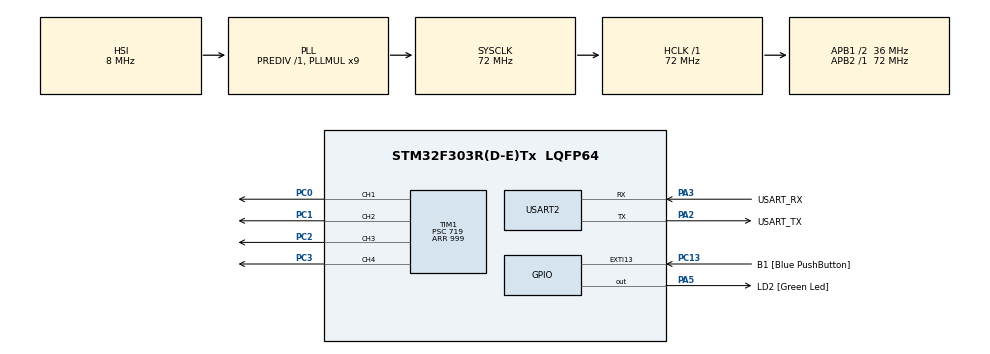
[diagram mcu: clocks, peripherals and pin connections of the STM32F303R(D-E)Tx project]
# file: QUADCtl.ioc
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Mcu.Family=STM32F3
Mcu.Name=STM32F303R(D-E)Tx
Mcu.Package=LQFP64
NVIC.PriorityGroup=NVIC_PRIORITYGROUP_0
NVIC.TIM2_IRQn=true\:0\:0\:true\:false\:true\:true\:true
PA13.GPIO_Label=TMS
PA13.Mode=Serial_Wire
PA13.Signal=SYS_JTMS-SWDIO
PA14.GPIO_Label=TCK
PA14.Mode=Serial_Wire
PA14.Signal=SYS_JTCK-SWCLK
PA2.GPIO_Label=USART_TX
PA2.GPIO_Mode=GPIO_MODE_AF_PP
PA2.GPIO_PuPd=GPIO_NOPULL
PA2.GPIO_Speed=GPIO_SPEED_FREQ_LOW
PA2.Mode=Asynchronous
PA2.Signal=USART2_TX
PA3.GPIO_Label=USART_RX
PA3.GPIO_Mode=GPIO_MODE_AF_PP
PA3.GPIO_PuPd=GPIO_NOPULL
PA3.GPIO_Speed=GPIO_SPEED_FREQ_LOW
PA3.Mode=Asynchronous
PA3.Signal=USART2_RX
PA5.GPIO_Label=LD2 [Green Led]
PA5.GPIO_Mode=GPIO_MODE_OUTPUT_PP
PA5.GPIO_PuPd=GPIO_NOPULL
PA5.GPIO_Speed=GPIO_SPEED_FREQ_LOW
PA5.Signal=GPIO_Output
PB3.GPIO_Label=SWO
PB3.Signal=SYS_JTDO-TRACESWO
PC0.GPIO_Speed=GPIO_SPEED_FREQ_HIGH
PC0.Signal=S_TIM1_CH1
PC1.GPIO_Speed=GPIO_SPEED_FREQ_HIGH
PC1.Signal=S_TIM1_CH2
PC13.GPIO_Label=B1 [Blue PushButton]
PC13.GPIO_ModeDefaultEXTI=GPIO_MODE_IT_FALLING
PC13.Signal=GPXTI13
PC14-OSC32_IN.Mode=LSE-External-Oscillator
PC14-OSC32_IN.Signal=RCC_OSC32_IN
PC15-OSC32_OUT.Mode=LSE-External-Oscillator
PC15-OSC32_OUT.Signal=RCC_OSC32_OUT
PC2.GPIO_Speed=GPIO_SPEED_FREQ_HIGH
PC2.Signal=S_TIM1_CH3
PC3.GPIO_Speed=GPIO_SPEED_FREQ_HIGH
PC3.Signal=S_TIM1_CH4
PF0-OSC_IN.Mode=HSE-External-Clock-Source
PF0-OSC_IN.Signal=RCC_OSC_IN
PF1-OSC_OUT.Signal=RCC_OSC_OUT
ProjectManager.HeapSize=0x200
ProjectManager.StackSize=0x400
ProjectManager.TargetToolchain=STM32CubeIDE
RCC.AHBFreq_Value=72000000
RCC.APB1CLKDivider=RCC_HCLK_DIV2
RCC.APB1Freq_Value=36000000
RCC.APB1TimFreq_Value=72000000
RCC.APB2Freq_Value=72000000
RCC.APB2TimFreq_Value=72000000
RCC.CortexFreq_Value=72000000
RCC.HCLKFreq_Value=72000000
RCC.HSE_VALUE=8000000
RCC.HSI_VALUE=8000000
RCC.PLLM=8
RCC.PLLMUL=RCC_PLL_MUL9
RCC.PLLN=336
RCC.PLLP=RCC_PLLP_DIV4
RCC.PLLQ=7
RCC.RCC_PLLsource_Clock_Source_FROM_HSE=RCC_HSE_PREDIV_DIV2
RCC.SYSCLKFreq_VALUE=72000000
RCC.SYSCLKSourceVirtual=RCC_SYSCLKSOURCE_PLLCLK
RCC.USBFreq_Value=72000000
SH.S_TIM1_CH1.0=TIM1_CH1,PWM Generation1 CH1
SH.S_TIM1_CH2.0=TIM1_CH2,PWM Generation2 CH2
SH.S_TIM1_CH3.0=TIM1_CH3,PWM Generation3 CH3
SH.S_TIM1_CH4.0=TIM1_CH4,PWM Generation4 CH4
TIM1.Channel-PWM\ Generation1\ CH1=TIM_CHANNEL_1
TIM1.Channel-PWM\ Generation2\ CH2=TIM_CHANNEL_2
TIM1.Channel-PWM\ Generation3\ CH3=TIM_CHANNEL_3
TIM1.Channel-PWM\ Generation4\ CH4=TIM_CHANNEL_4
TIM1.Period=999
TIM1.Prescaler=719
TIM1.Pulse-PWM\ Generation1\ CH1=100
TIM1.Pulse-PWM\ Generation2\ CH2=100
TIM1.Pulse-PWM\ Generation3\ CH3=100
TIM1.Pulse-PWM\ Generation4\ CH4=100
TIM2.Period=999
TIM2.Prescaler=719
USART2.VirtualMode-Asynchronous=VM_ASYNC
VP_TIM1_VS_ClockSourceINT.Mode=Internal
VP_TIM1_VS_OPM.Mode=OPM_bit
VP_TIM2_VS_ClockSourceINT.Mode=Internal
board=NUCLEO-F303RE

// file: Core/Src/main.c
/* USER CODE BEGIN Header */
/**
  ******************************************************************************
  * @file           : main.c
  * @brief          : Main program body
  ******************************************************************************
  * @attention
  *
  * <h2><center>&copy; Copyright (c) 2019 STMicroelectronics.
  * All rights reserved.</center></h2>
  *
  * This software component is licensed by ST under BSD 3-Clause license,
  * the "License"; You may not use this file except in compliance with the
  * License. You may obtain a copy of the License at:
  *                        opensource.org/licenses/BSD-3-Clause
  *
  ******************************************************************************
  */
/* USER CODE END Header */

#include "main.h"

/* USER CODE BEGIN PD */
#define __PWM_CTRL(ch, state) (state) ? HAL_TIM_PWM_Start(&htim1, ch) : HAL_TIM_PWM_Stop(&htim1, ch)
/* USER CODE END PD */

TIM_HandleTypeDef htim1;
TIM_HandleTypeDef htim2;

UART_HandleTypeDef huart2;

/* USER CODE BEGIN PV */
/* Private variables ---------------------------------------------------------*/
/* USER CODE END PV */

void SystemClock_Config(void);
static void MX_GPIO_Init(void);
static void MX_USART2_UART_Init(void);
static void MX_TIM1_Init(void);
static void MX_TIM2_Init(void);
/* USER CODE BEGIN PFP */
/* Private function prototypes -----------------------------------------------*/

/* USER CODE END PFP */

/* USER CODE BEGIN 0 */
static uint16_t steps[] = {
	0x1010,
	0x0110,
	0x0101,
	0x1001
};

__IO uint8_t __step = 0;
void __tim2_interrupt_callback() {
	__PWM_CTRL(TIM_CHANNEL_1, steps[__step] & 0x1000);
	__PWM_CTRL(TIM_CHANNEL_2, steps[__step] & 0x0100);
	__PWM_CTRL(TIM_CHANNEL_3, steps[__step] & 0x0010);
	__PWM_CTRL(TIM_CHANNEL_4, steps[__step] & 0x0001);

	if (__step < (sizeof(steps) / sizeof(uint16_t) - 1))
		__step += 1;
	else __step = 0;
}

void modifyARR(uint16_t val) {
	HAL_TIM_Base_Stop_IT(&htim2);

	val -= 1;
	htim1.Instance->ARR = val;
	htim2.Instance->ARR = val;

	__step = 0;

	HAL_TIM_Base_Start_IT(&htim2);
}

void modifyCCR(uint16_t val) {
	val -= 1;
	htim1.Instance->CCR1 = val;
	htim1.Instance->CCR2 = val;
	htim1.Instance->CCR3 = val;
	htim1.Instance->CCR4 = val;
}

void setStepper(float freq, float duty) {
	if (freq > 100000) freq = 100000;
	if (freq < 0) freq = 0;
	int arrVal = 100000 / freq;
	modifyARR(arrVal);
	if (duty > 1) duty = 1;
	if (duty < 0) duty = 0;
	int ccrVal = (1 - duty) * arrVal;
	modifyCCR(ccrVal);
}
/* USER CODE END 0 */

int main(void)
{

  /* MCU Configuration--------------------------------------------------------*/

  /* Reset of all peripherals, Initializes the Flash interface and the Systick. */
  HAL_Init();

  /* Configure the system clock */
  SystemClock_Config();

  /* Initialize all configured peripherals */
  MX_GPIO_Init();
  MX_USART2_UART_Init();
  MX_TIM1_Init();
  MX_TIM2_Init();
  /* USER CODE BEGIN 2 */
  HAL_Delay(1000);

  setStepper(1000, 0.95);
  /* USER CODE END 2 */

  /* Infinite loop */
  /* USER CODE BEGIN WHILE */
  while (1) {
	  HAL_GPIO_TogglePin(LD2_GPIO_Port, LD2_Pin);
	  HAL_Delay(500);
    /* USER CODE END WHILE */

  }
}

void SystemClock_Config(void)
{
  RCC_OscInitTypeDef RCC_OscInitStruct = {0};
  RCC_ClkInitTypeDef RCC_ClkInitStruct = {0};
  RCC_PeriphCLKInitTypeDef PeriphClkInit = {0};

  /** Initializes the CPU, AHB and APB busses clocks
  */
  RCC_OscInitStruct.OscillatorType = RCC_OSCILLATORTYPE_HSI;
  RCC_OscInitStruct.HSIState = RCC_HSI_ON;
  RCC_OscInitStruct.HSICalibrationValue = RCC_HSICALIBRATION_DEFAULT;
  RCC_OscInitStruct.PLL.PLLState = RCC_PLL_ON;
  RCC_OscInitStruct.PLL.PLLSource = RCC_PLLSOURCE_HSI;
  RCC_OscInitStruct.PLL.PLLMUL = RCC_PLL_MUL9;
  RCC_OscInitStruct.PLL.PREDIV = RCC_PREDIV_DIV1;
  if (HAL_RCC_OscConfig(&RCC_OscInitStruct) != HAL_OK)
  {
    Error_Handler();
  }
  /** Initializes the CPU, AHB and APB busses clocks
  */
  RCC_ClkInitStruct.ClockType = RCC_CLOCKTYPE_HCLK|RCC_CLOCKTYPE_SYSCLK
                              |RCC_CLOCKTYPE_PCLK1|RCC_CLOCKTYPE_PCLK2;
  RCC_ClkInitStruct.SYSCLKSource = RCC_SYSCLKSOURCE_PLLCLK;
  RCC_ClkInitStruct.AHBCLKDivider = RCC_SYSCLK_DIV1;
  RCC_ClkInitStruct.APB1CLKDivider = RCC_HCLK_DIV2;
  RCC_ClkInitStruct.APB2CLKDivider = RCC_HCLK_DIV1;

  if (HAL_RCC_ClockConfig(&RCC_ClkInitStruct, FLASH_LATENCY_2) != HAL_OK)
  {
    Error_Handler();
  }
  PeriphClkInit.PeriphClockSelection = RCC_PERIPHCLK_USART2|RCC_PERIPHCLK_TIM1
                              |RCC_PERIPHCLK_TIM2;
  PeriphClkInit.Usart2ClockSelection = RCC_USART2CLKSOURCE_PCLK1;
  PeriphClkInit.Tim1ClockSelection = RCC_TIM1CLK_HCLK;
  PeriphClkInit.Tim2ClockSelection = RCC_TIM2CLK_HCLK;
  if (HAL_RCCEx_PeriphCLKConfig(&PeriphClkInit) != HAL_OK)
  {
    Error_Handler();
  }
}

static void MX_TIM1_Init(void)
{

  TIM_ClockConfigTypeDef sClockSourceConfig = {0};
  TIM_MasterConfigTypeDef sMasterConfig = {0};
  TIM_OC_InitTypeDef sConfigOC = {0};
  TIM_BreakDeadTimeConfigTypeDef sBreakDeadTimeConfig = {0};

  htim1.Instance = TIM1;
  htim1.Init.Prescaler = 719;
  htim1.Init.CounterMode = TIM_COUNTERMODE_UP;
  htim1.Init.Period = 999;
  htim1.Init.ClockDivision = TIM_CLOCKDIVISION_DIV1;
  htim1.Init.RepetitionCounter = 0;
  htim1.Init.AutoReloadPreload = TIM_AUTORELOAD_PRELOAD_DISABLE;
  if (HAL_TIM_Base_Init(&htim1) != HAL_OK)
  {
    Error_Handler();
  }
  sClockSourceConfig.ClockSource = TIM_CLOCKSOURCE_INTERNAL;
  if (HAL_TIM_ConfigClockSource(&htim1, &sClockSourceConfig) != HAL_OK)
  {
    Error_Handler();
  }
  if (HAL_TIM_PWM_Init(&htim1) != HAL_OK)
  {
    Error_Handler();
  }
  if (HAL_TIM_OnePulse_Init(&htim1, TIM_OPMODE_SINGLE) != HAL_OK)
  {
    Error_Handler();
  }
  sMasterConfig.MasterOutputTrigger = TIM_TRGO_RESET;
  sMasterConfig.MasterOutputTrigger2 = TIM_TRGO2_RESET;
  sMasterConfig.MasterSlaveMode = TIM_MASTERSLAVEMODE_DISABLE;
  if (HAL_TIMEx_MasterConfigSynchronization(&htim1, &sMasterConfig) != HAL_OK)
  {
    Error_Handler();
  }
  sConfigOC.OCMode = TIM_OCMODE_PWM1;
  sConfigOC.Pulse = 100;
  sConfigOC.OCPolarity = TIM_OCPOLARITY_HIGH;
  sConfigOC.OCNPolarity = TIM_OCNPOLARITY_HIGH;
  sConfigOC.OCFastMode = TIM_OCFAST_DISABLE;
  sConfigOC.OCIdleState = TIM_OCIDLESTATE_RESET;
  sConfigOC.OCNIdleState = TIM_OCNIDLESTATE_RESET;
  if (HAL_TIM_PWM_ConfigChannel(&htim1, &sConfigOC, TIM_CHANNEL_1) != HAL_OK)
  {
    Error_Handler();
  }
  if (HAL_TIM_PWM_ConfigChannel(&htim1, &sConfigOC, TIM_CHANNEL_2) != HAL_OK)
  {
    Error_Handler();
  }
  if (HAL_TIM_PWM_ConfigChannel(&htim1, &sConfigOC, TIM_CHANNEL_3) != HAL_OK)
  {
    Error_Handler();
  }
  if (HAL_TIM_PWM_ConfigChannel(&htim1, &sConfigOC, TIM_CHANNEL_4) != HAL_OK)
  {
    Error_Handler();
  }
  sBreakDeadTimeConfig.OffStateRunMode = TIM_OSSR_DISABLE;
  sBreakDeadTimeConfig.OffStateIDLEMode = TIM_OSSI_DISABLE;
  sBreakDeadTimeConfig.LockLevel = TIM_LOCKLEVEL_OFF;
  sBreakDeadTimeConfig.DeadTime = 0;
  sBreakDeadTimeConfig.BreakState = TIM_BREAK_DISABLE;
  sBreakDeadTimeConfig.BreakPolarity = TIM_BREAKPOLARITY_HIGH;
  sBreakDeadTimeConfig.BreakFilter = 0;
  sBreakDeadTimeConfig.Break2State = TIM_BREAK2_DISABLE;
  sBreakDeadTimeConfig.Break2Polarity = TIM_BREAK2POLARITY_HIGH;
  sBreakDeadTimeConfig.Break2Filter = 0;
  sBreakDeadTimeConfig.AutomaticOutput = TIM_AUTOMATICOUTPUT_DISABLE;
  if (HAL_TIMEx_ConfigBreakDeadTime(&htim1, &sBreakDeadTimeConfig) != HAL_OK)
  {
    Error_Handler();
  }
  HAL_TIM_MspPostInit(&htim1);

}

static void MX_TIM2_Init(void)
{

  TIM_ClockConfigTypeDef sClockSourceConfig = {0};
  TIM_MasterConfigTypeDef sMasterConfig = {0};

  htim2.Instance = TIM2;
  htim2.Init.Prescaler = 719;
  htim2.Init.CounterMode = TIM_COUNTERMODE_UP;
  htim2.Init.Period = 999;
  htim2.Init.ClockDivision = TIM_CLOCKDIVISION_DIV1;
  htim2.Init.AutoReloadPreload = TIM_AUTORELOAD_PRELOAD_DISABLE;
  if (HAL_TIM_Base_Init(&htim2) != HAL_OK)
  {
    Error_Handler();
  }
  sClockSourceConfig.ClockSource = TIM_CLOCKSOURCE_INTERNAL;
  if (HAL_TIM_ConfigClockSource(&htim2, &sClockSourceConfig) != HAL_OK)
  {
    Error_Handler();
  }
  sMasterConfig.MasterOutputTrigger = TIM_TRGO_RESET;
  sMasterConfig.MasterSlaveMode = TIM_MASTERSLAVEMODE_DISABLE;
  if (HAL_TIMEx_MasterConfigSynchronization(&htim2, &sMasterConfig) != HAL_OK)
  {
    Error_Handler();
  }

}

static void MX_USART2_UART_Init(void)
{

  huart2.Instance = USART2;
  huart2.Init.BaudRate = 38400;
  huart2.Init.WordLength = UART_WORDLENGTH_8B;
  huart2.Init.StopBits = UART_STOPBITS_1;
  huart2.Init.Parity = UART_PARITY_NONE;
  huart2.Init.Mode = UART_MODE_TX_RX;
  huart2.Init.HwFlowCtl = UART_HWCONTROL_NONE;
  huart2.Init.OverSampling = UART_OVERSAMPLING_16;
  huart2.Init.OneBitSampling = UART_ONE_BIT_SAMPLE_DISABLE;
  huart2.AdvancedInit.AdvFeatureInit = UART_ADVFEATURE_NO_INIT;
  if (HAL_UART_Init(&huart2) != HAL_OK)
  {
    Error_Handler();
  }

}

static void MX_GPIO_Init(void)
{
  GPIO_InitTypeDef GPIO_InitStruct = {0};

  /* GPIO Ports Clock Enable */
  __HAL_RCC_GPIOC_CLK_ENABLE();
  __HAL_RCC_GPIOF_CLK_ENABLE();
  __HAL_RCC_GPIOA_CLK_ENABLE();
  __HAL_RCC_GPIOB_CLK_ENABLE();

  /*Configure GPIO pin Output Level */
  HAL_GPIO_WritePin(LD2_GPIO_Port, LD2_Pin, GPIO_PIN_RESET);

  /*Configure GPIO pin : B1_Pin */
  GPIO_InitStruct.Pin = B1_Pin;
  GPIO_InitStruct.Mode = GPIO_MODE_IT_FALLING;
  GPIO_InitStruct.Pull = GPIO_NOPULL;
  HAL_GPIO_Init(B1_GPIO_Port, &GPIO_InitStruct);

  /*Configure GPIO pin : LD2_Pin */
  GPIO_InitStruct.Pin = LD2_Pin;
  GPIO_InitStruct.Mode = GPIO_MODE_OUTPUT_PP;
  GPIO_InitStruct.Pull = GPIO_NOPULL;
  GPIO_InitStruct.Speed = GPIO_SPEED_FREQ_LOW;
  HAL_GPIO_Init(LD2_GPIO_Port, &GPIO_InitStruct);

}

void Error_Handler(void)
{
  while(1)
  {
  }
}

/************************ (C) COPYRIGHT STMicroelectronics *****END OF FILE****/
